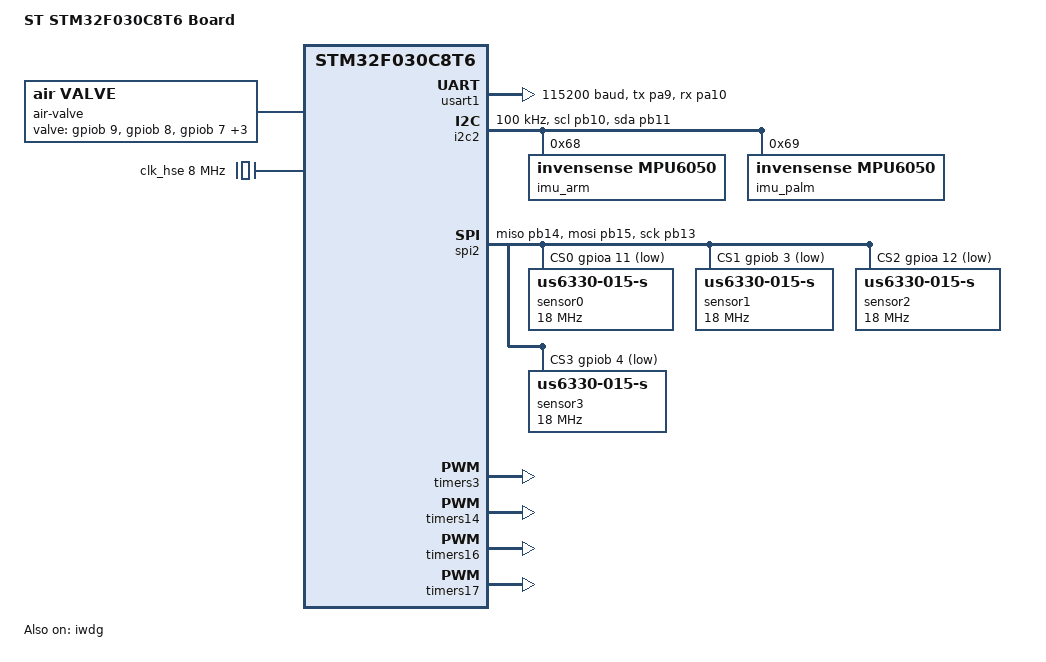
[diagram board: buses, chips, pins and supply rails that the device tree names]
/*
 * Copyright (c) 2022, TOKITA Hiroshi <tokita.hiroshi@gmail.com>
 * SPDX-License-Identifier: Apache-2.0
 */

/dts-v1/;

#include <st/f0/stm32f030X8.dtsi>
#include <st/f0/stm32f030c8tx-pinctrl.dtsi>

/ {
	model = "ST STM32F030C8T6 Board";
	compatible = "st,stm32f030c8t6";

	chosen {
		zephyr,console = &usart1;
		zephyr,shell-uart = &usart1;
		zephyr,sram = &sram0;
		zephyr,flash = &flash0;
	};
	air-valve {
		compatible = "air,valve";
		valve-gpios = <&gpiob 9  GPIO_ACTIVE_HIGH>,    // valve1
		<&gpiob 8  GPIO_ACTIVE_HIGH>,    // valve2
		<&gpiob 7  GPIO_ACTIVE_HIGH>,    // valve3
		<&gpiob 6 GPIO_ACTIVE_HIGH>,    // valve4
		<&gpiob 5 GPIO_ACTIVE_HIGH>,    // valve5
		<&gpioa 15 GPIO_ACTIVE_HIGH>;    // valve6
	};
};

&clk_hse {
	clock-frequency = <DT_FREQ_M(8)>;
	status = "okay";
};

&pll {
	prediv = <1>;
	mul = <6>;
	clocks = <&clk_hse>;
	status = "okay";
};

&rcc {
	clocks = <&pll>;
	clock-frequency = <DT_FREQ_M(48)>;
	ahb-prescaler = <1>;
	apb1-prescaler = <1>;
};

&usart1 {
	pinctrl-0 = <&usart1_tx_pa9 &usart1_rx_pa10>;
	pinctrl-names = "default";
	current-speed = <115200>;
	status = "okay";
};
&iwdg {
	status = "okay";
};

&i2c2 {
	pinctrl-0 = <&i2c2_scl_pb10 &i2c2_sda_pb11>;
	status = "okay";
	pinctrl-names = "default";
	clock-frequency = <I2C_BITRATE_STANDARD>;

	imu_arm: mpu6050@68 {
		compatible = "invensense,mpu6050";
		reg = <0x68>;
		status = "okay";
	};
	imu_palm: mpu6050@69 {
		compatible = "invensense,mpu6050";
		reg = <0x69>;
		status = "okay";
	};
};
&spi2 {
	status = "okay";
	pinctrl-0 = <&spi2_miso_pb14 &spi2_mosi_pb15 &spi2_sck_pb13>;
	pinctrl-names = "default";
	cs-gpios = <&gpioa 11 GPIO_ACTIVE_LOW>,
	           <&gpiob 3  GPIO_ACTIVE_LOW>,
	           <&gpioa 12 GPIO_ACTIVE_LOW>,
	           <&gpiob 4  GPIO_ACTIVE_LOW>;

	sensor0: sensor0@0 {
		status = "okay";
		compatible = "us6330-015-s";
		reg = <0>;
		spi-max-frequency = <18000000>;
	};
	sensor1: sensor1@1 {
		status = "okay";
		compatible = "us6330-015-s";
		reg = <1>;
		spi-max-frequency = <18000000>;
	};
	sensor2: sensor2@2 {
		status = "okay";
		compatible = "us6330-015-s";
		reg = <2>;
		spi-max-frequency = <18000000>;
	};
	sensor3: sensor3@3 {
		status = "okay";
		compatible = "us6330-015-s";
		reg = <3>;
		spi-max-frequency = <18000000>;
	};
};

&timers3 {
	status = "okay";

	pwm1: pwm {
		compatible = "st,stm32-pwm";
		status = "okay";
		pinctrl-0 = <&tim3_ch1_pa6 &tim3_ch2_pb5>;
		pinctrl-names = "default";
		#pwm-cells = <3>;
	};
};

&timers14 {
	status = "okay";

	pwm2: pwm {
		compatible = "st,stm32-pwm";
		status = "okay";
		pinctrl-0 = <&tim14_ch1_pa7>;
		pinctrl-names = "default";
		#pwm-cells = <3>;
	};
};
&timers16 {
	status = "okay";

	pwm3: pwm {
		compatible = "st,stm32-pwm";
		status = "okay";
		pinctrl-0 = <&tim16_ch1_pb8>;
		pinctrl-names = "default";
		#pwm-cells = <3>;
	};
};

&timers17 {
	status = "okay";

	pwm4: pwm {
		compatible = "st,stm32-pwm";
		status = "okay";
		pinctrl-0 = <&tim17_ch1_pb9>;
		pinctrl-names = "default";
		#pwm-cells = <3>;
	};
};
